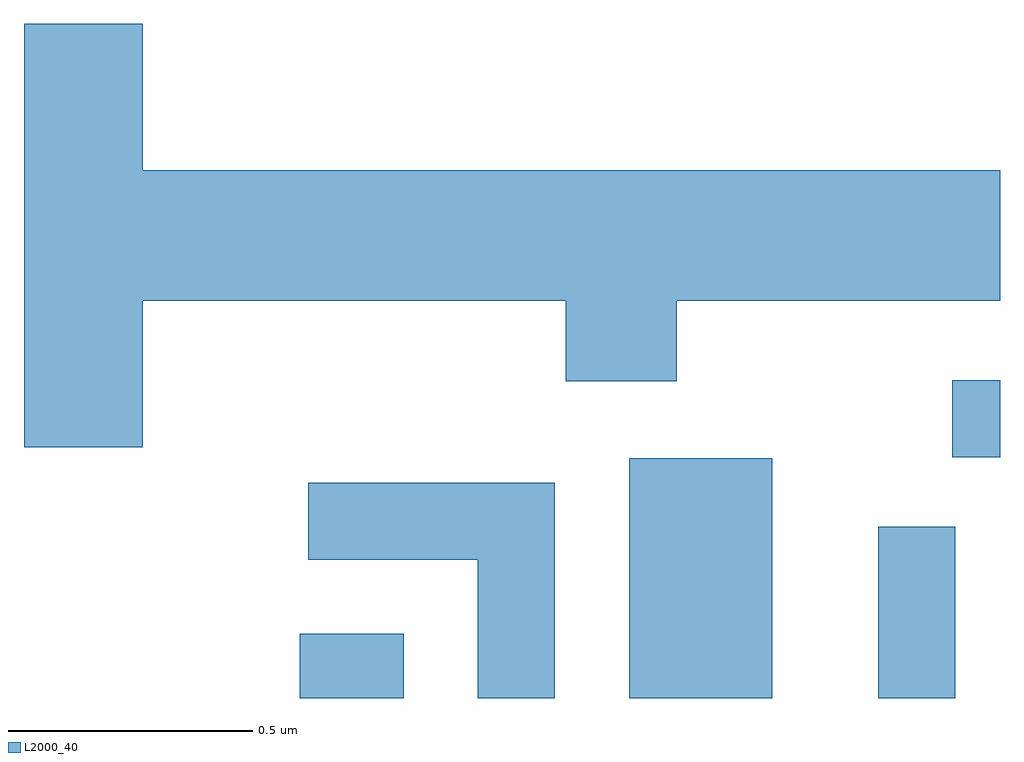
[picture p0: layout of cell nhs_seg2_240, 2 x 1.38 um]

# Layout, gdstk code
import gdstk
lib = gdstk.Library(unit=1e-6, precision=1e-09)
def R(c, l, rs):  # rectangles x0, y0, x1, y1
    for r in rs: c.add(gdstk.rectangle(r[:2], r[2:], *l))
def P(c, l, *ps):  # polygons
    for p in ps: c.add(gdstk.Polygon(p, *l))
L2000_40 = (2000, 40)

nhs_seg2_240 = lib.new_cell('nhs_seg2_240')
R(nhs_seg2_240, L2000_40, [(187.176,1080.802,187.389,1080.934), (187.851,1080.802,188.144,1081.294), (188.361,1080.802,188.519,1081.153), (188.513,1081.296,188.611,1081.454)])
P(nhs_seg2_240, L2000_40, [(186.854,1081.616),(187.721,1081.616),(187.721,1081.451),(187.949,1081.451),(187.949,1081.616),(188.611,1081.616),(188.611,1081.884),(186.854,1081.884),(186.854,1082.184),(186.611,1082.184),(186.611,1081.316),(186.854,1081.316)],
  [(187.699,1081.244),(187.193,1081.244),(187.193,1081.086),(187.541,1081.086),(187.541,1080.802),(187.699,1080.802)])

lib.write_gds('nhs_seg2_240.gds')
